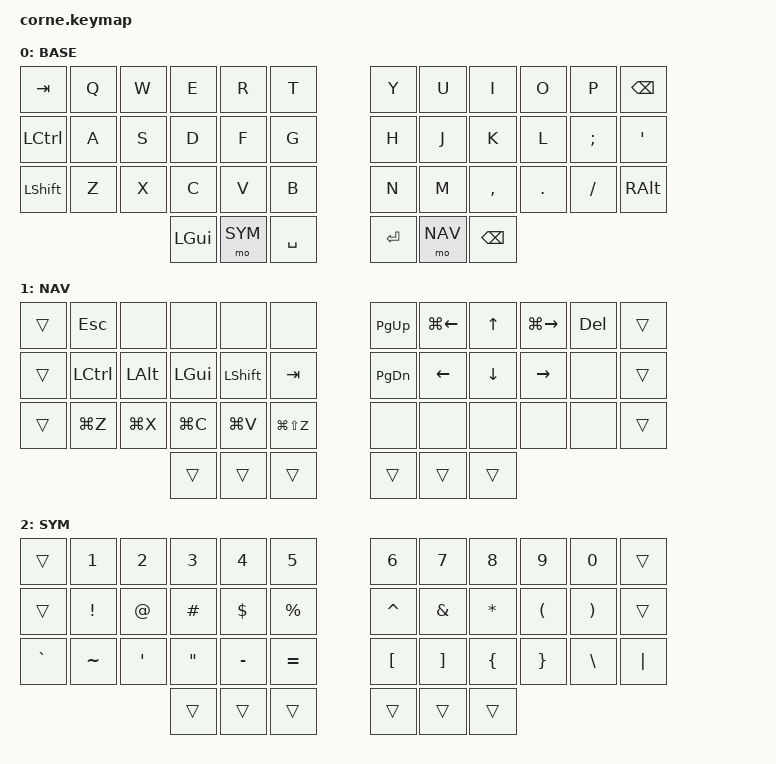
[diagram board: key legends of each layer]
// CORNE (3x6_3, 42 klawisze) — SZKIC dla trenera. Nie ma jeszcze fizycznej klawiatury.
// Zasada: ten sam układ co Totem (config/totem.keymap na master), plus zewnętrzne kolumny.
//  - Zewnętrzne kolumny: Tab, Ctrl, Shift (lewa), Backspace, ', Opt (prawa).
//  - NAV (prawy środkowy kciuk, strzałki I J K L) i SYM (lewy środkowy kciuk) — jak na Totemie i Redoxie.
//  - Klawisze SYM w dolnym rzędzie na zewnątrz (` i |) są tam, gdzie na Totemie.
// Kolejność: 3 rzędy po 12, potem 6 kciuków.

#include <behaviors.dtsi>
#include <dt-bindings/zmk/keys.h>

#define BASE 0
#define NAV  1
#define SYM  2

/ {
    keymap {
        compatible = "zmk,keymap";

        base_layer {
            display-name = "BASE";
            bindings = <
   &kp TAB   &kp Q     &kp W     &kp E     &kp R     &kp T        &kp Y     &kp U     &kp I     &kp O     &kp P     &kp BSPC
   &kp LCTRL &kp A     &kp S     &kp D     &kp F     &kp G        &kp H     &kp J     &kp K     &kp L     &kp SEMI  &kp SQT
   &kp LSHFT &kp Z     &kp X     &kp C     &kp V     &kp B        &kp N     &kp M     &kp COMMA &kp DOT   &kp FSLH  &kp RALT
                                 &kp LGUI  &mo SYM   &kp SPACE    &kp RET   &mo NAV   &kp BSPC
            >;
        };

        nav_layer {
            display-name = "NAV";
            bindings = <
   &trans    &kp ESC   &none     &none     &none     &none        &kp PG_UP &kp LG(LEFT) &kp UP    &kp LG(RIGHT) &kp DEL &trans
   &trans    &kp LCTRL &kp LALT  &kp LGUI  &kp LSHFT &kp TAB      &kp PG_DN &kp LEFT  &kp DOWN  &kp RIGHT &none     &trans
   &trans    &kp LG(Z) &kp LG(X) &kp LG(C) &kp LG(V) &kp LG(LS(Z)) &none    &none     &none     &none     &none     &trans
                                 &trans    &trans    &trans       &trans    &trans    &trans
            >;
        };

        sym_layer {
            display-name = "SYM";
            bindings = <
   &trans    &kp N1    &kp N2    &kp N3    &kp N4    &kp N5       &kp N6    &kp N7    &kp N8    &kp N9    &kp N0    &trans
   &trans    &kp EXCL  &kp AT    &kp HASH  &kp DLLR  &kp PRCNT    &kp CARET &kp AMPS  &kp STAR  &kp LPAR  &kp RPAR  &trans
   &kp GRAVE &kp TILDE &kp SQT   &kp DQT   &kp MINUS &kp EQUAL    &kp LBKT  &kp RBKT  &kp LBRC  &kp RBRC  &kp BSLH  &kp PIPE
                                 &trans    &trans    &trans       &trans    &trans    &trans
            >;
        };
    };
};
